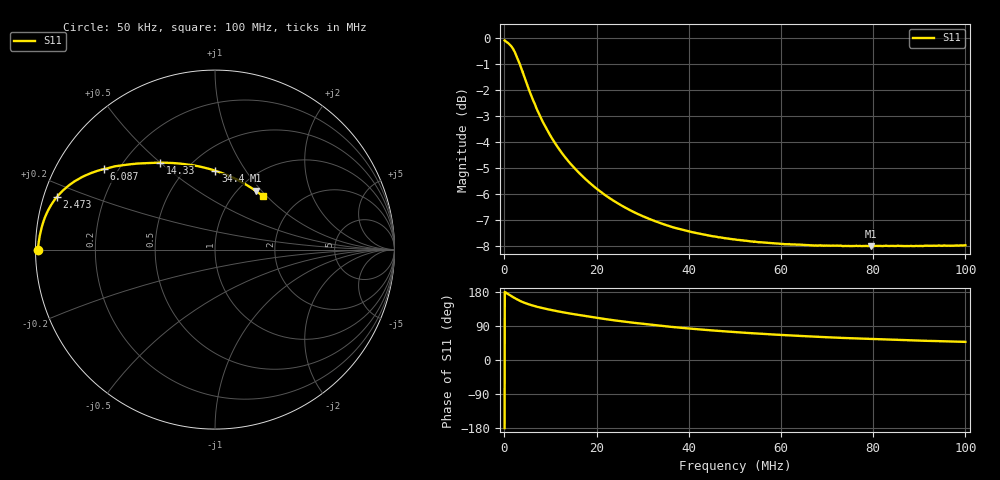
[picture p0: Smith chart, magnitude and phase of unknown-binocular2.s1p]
# HZ S RI R 50
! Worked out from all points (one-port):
!   1010 points, 50 kHz to 100 MHz, reference 50 ohm
!   lowest |S11| = -8.0 dB at 79.49 MHz (marker M1), VSWR 2.32, Z = 59.6 + j46.4 ohm
!   |S11| at or under -10 dB: nowhere
!   S11 on the Smith chart (normalised r, x): 50 kHz: 0.01, -0.00; 2.473 MHz: 0.04, +0.16; 6.087 MHz: 0.15, +0.32; 14.33 MHz: 0.35, +0.50; 34.4 MHz: 0.68, +0.74; 100 MHz: 1.35, +0.95
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50000  -0.9874 -0.00412
208900  -0.9843 0.0243
685600  -0.9739 0.0886
1321200  -0.9521 0.1677
1877400  -0.923 0.2314
2473300  -0.8827 0.2913
3188400  -0.8266 0.3477
4022756  -0.7602 0.3939
5032756  -0.6848 0.4285
6086756  -0.6176 0.449
7096856  -0.5601 0.4637
8414434  -0.4992 0.472
1.047633e7  -0.4196 0.48
1.258733e7  -0.3538 0.4832
1.432571e7  -0.3072 0.4839
1.888982e7  -0.2071 0.4801
2.210242e7  -0.1503 0.4739
2.505802e7  -0.1054 0.4667
2.941889e7  -0.0496 0.4542
3.440288e7  0.00263 0.4392
3.756528e7  0.0307 0.4293
4.221594e7  0.0668 0.4157
5.013004e7  0.1159 0.3932
6.265752e7  0.1732 0.3619
7.515277e7  0.2143 0.3358
7.948657e7  0.226 0.3277
8.757637e7  0.2452 0.314
9.999997e7  0.2684 0.2963
